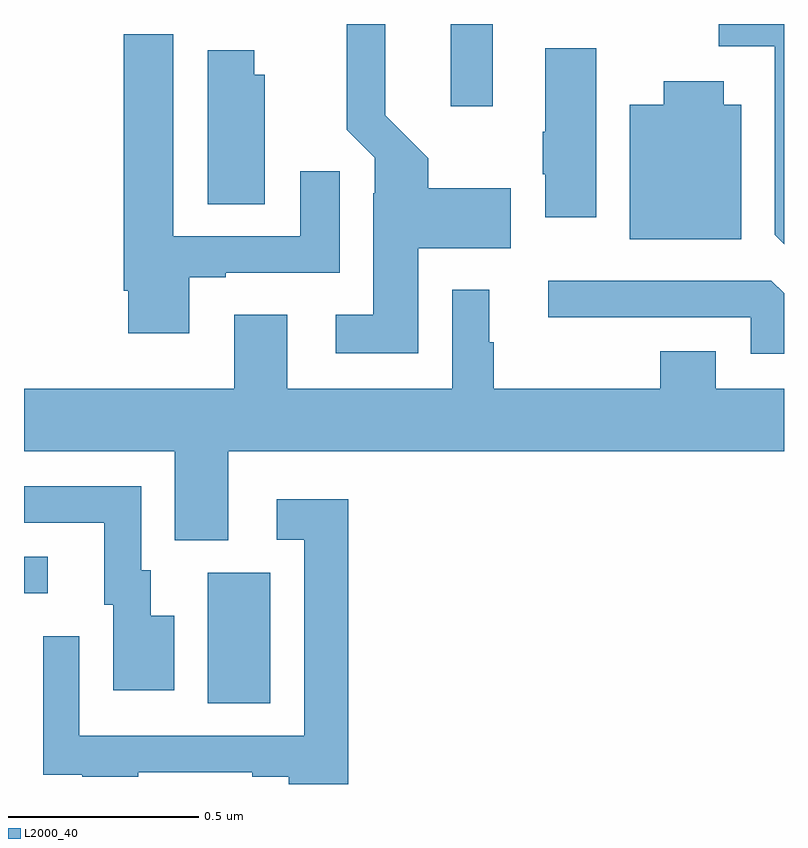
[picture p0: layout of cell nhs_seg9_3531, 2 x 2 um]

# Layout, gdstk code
import gdstk
lib = gdstk.Library(unit=1e-6, precision=1e-09)
def R(c, l, rs):  # rectangles x0, y0, x1, y1
    for r in rs: c.add(gdstk.rectangle(r[:2], r[2:], *l))
def P(c, l, *ps):  # polygons
    for p in ps: c.add(gdstk.Polygon(p, *l))
L2000_40 = (2000, 40)

nhs_seg9_3531 = lib.new_cell('nhs_seg9_3531')
R(nhs_seg9_3531, L2000_40, [(154.484,1239.712,154.648,1240.056), (154,1240.002,154.063,1240.098), (155.123,1241.283,155.233,1241.5)])
P(nhs_seg9_3531, L2000_40, [(156,1241.5),(155.828,1241.5),(155.828,1241.441),(155.975,1241.441),(155.975,1240.945),(156,1240.92)],
  [(155.038,1240.91),(155.281,1240.91),(155.281,1241.068),(155.064,1241.068),(155.064,1241.147),(154.951,1241.26),(154.951,1241.5),(154.849,1241.5),(154.849,1241.222),(154.923,1241.148),(154.923,1241.054),(154.919,1241.054),(154.919,1240.735),(154.821,1240.735),(154.821,1240.634),(155.038,1240.634)],
  [(154.435,1240.833),(154.531,1240.833),(154.531,1240.845),(154.831,1240.845),(154.831,1241.113),(154.727,1241.113),(154.727,1240.941),(154.393,1240.941),(154.393,1241.473),(154.262,1241.473),(154.262,1240.798),(154.274,1240.798),(154.274,1240.686),(154.435,1240.686)],
  [(155.506,1241.436),(155.372,1241.436),(155.372,1241.217),(155.365,1241.217),(155.365,1241.104),(155.372,1241.104),(155.372,1240.992),(155.506,1240.992)],
  [(154.633,1241.367),(154.606,1241.367),(154.606,1241.431),(154.484,1241.431),(154.484,1241.026),(154.633,1241.026)],
  [(155.887,1241.287),(155.842,1241.287),(155.842,1241.35),(155.684,1241.35),(155.684,1241.287),(155.594,1241.287),(155.594,1240.934),(155.887,1240.934)],
  [(156,1240.791),(155.967,1240.824),(155.379,1240.824),(155.379,1240.728),(155.913,1240.728),(155.913,1240.632),(156,1240.632)],
  [(154.537,1240.376),(156,1240.376),(156,1240.54),(155.821,1240.54),(155.821,1240.639),(155.674,1240.639),(155.674,1240.54),(155.236,1240.54),(155.236,1240.662),(155.224,1240.662),(155.224,1240.801),(155.127,1240.801),(155.127,1240.54),(154.693,1240.54),(154.693,1240.735),(154.553,1240.735),(154.553,1240.54),(154,1240.54),(154,1240.376),(154.397,1240.376),(154.397,1240.141),(154.537,1240.141)],
  [(154.396,1239.943),(154.333,1239.943),(154.333,1240.062),(154.308,1240.062),(154.308,1240.284),(154,1240.284),(154,1240.188),(154.211,1240.188),(154.211,1239.972),(154.235,1239.972),(154.235,1239.747),(154.396,1239.747)],
  [(154.853,1240.249),(154.665,1240.249),(154.665,1240.143),(154.737,1240.143),(154.737,1239.627),(154.146,1239.627),(154.146,1239.889),(154.05,1239.889),(154.05,1239.634),(154.051,1239.634),(154.051,1239.525),(154.153,1239.525),(154.153,1239.519),(154.301,1239.519),(154.301,1239.531),(154.601,1239.531),(154.601,1239.519),(154.697,1239.519),(154.697,1239.5),(154.853,1239.5)])

lib.write_gds('nhs_seg9_3531.gds')
